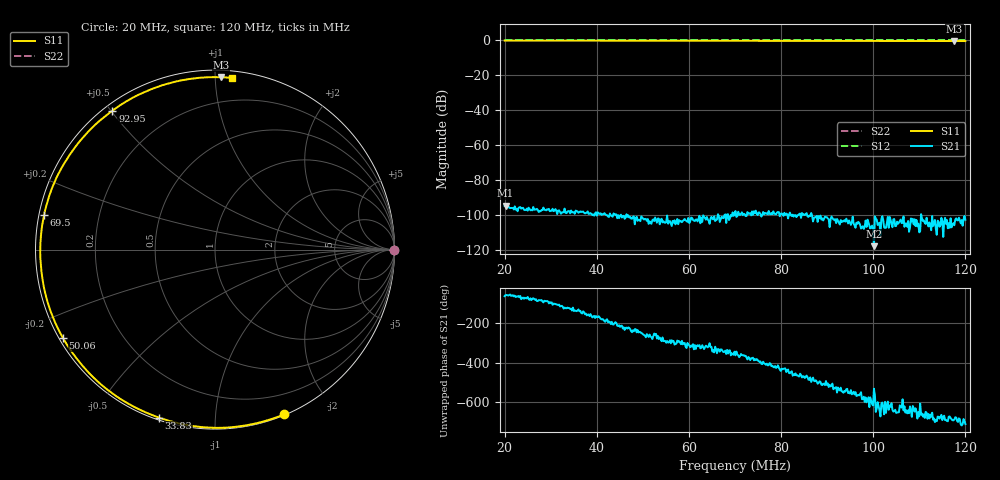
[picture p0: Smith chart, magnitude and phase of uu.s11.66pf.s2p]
! Anritsu VNA Master:  Model: MS2036C/10/77
! SN:  1601066
! /card0/usr/uu.s11.66pf.s2p
! Existing Calibration Information:
! TYPE:  Current Settings,  Active Cal Settings
! TIME:  05/23/2018 12:00:37 PM,  05/23/2018 11:36:58 AM
! INTERNAL TEMP:  48.5 C,  48.8 C
! # POINTS:  500,  500
! START FREQ:  20.000 MHz,  20.000 MHz
! STOP FREQ:  120.000 MHz,  120.000 MHz
! SOURCE POWER:  High,  High
! IFBW:  50 Hz,  50 Hz
! AVG FACTOR:  1 ,  1
! REF PLANE 1:  0 mm,  0 mm
! REF PLANE 2:  0 mm,  0 mm
! CAL TYPE:  Full S11,  Full S11
! CAL METHOD:  SOLT,  SOLT
! CAL LINE TYPE:  Coax,  Coax
! DUT PORT 1:  K-Conn(M),  K-Conn(M)
! DUT PORT 2:  K-Conn(M),  K-Conn(M)
! CAL STATUS:  OK: Accuracy High,  --
# GHZ S DB R 50.0
! FREQ.GHZ  S11DB  S11A  S21DB  S21A  S12DB  S12A  S22DB  S22A
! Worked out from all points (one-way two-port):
!   500 points, 20 MHz to 120 MHz, reference 50 ohm
!   highest |S21| = -94.71 dB at 20.2 MHz (marker M1); lowest = -117.9 dB at 100.2 MHz (marker M2)
!   lowest |S11| = -0.4 dB at 117.6 MHz (marker M3), VSWR 49.59, Z = 2.09 + j51.7 ohm
!   |S11| at or under -10 dB: nowhere
!   |S22| runs from 0.0 to 0.0 dB; largest |S21 - S12| = 1
!   S11 on the Smith chart (normalised r, x): 20 MHz: 0.01, -1.51; 33.83 MHz: 0.01, -0.72; 50.06 MHz: 0.01, -0.27; 69.5 MHz: 0.01, +0.10; 92.95 MHz: 0.02, +0.50; 120 MHz: 0.04, +1.10
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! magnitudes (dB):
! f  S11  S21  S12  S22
! 20 MHz  0.0  -94.8  0.0  0.0
! 20.2 MHz  0.0  -94.7  0.0  0.0
! 26.81 MHz  -0.1  -96.9  0.0  0.0
! 33.83 MHz  -0.1  -97.8  0.0  0.0
! 36.83 MHz  -0.1  -98.1  0.0  0.0
! 40.64 MHz  -0.1  -99.4  0.0  0.0
! 46.45 MHz  -0.2  -99.6  0.0  0.0
! 50.06 MHz  -0.2  -102.2  0.0  0.0
! 53.47 MHz  -0.2  -102.1  0.0  0.0
! 60.88 MHz  -0.2  -102.8  0.0  0.0
! 62.89 MHz  -0.2  -103.9  0.0  0.0
! 69.5 MHz  -0.2  -98.5  0.0  0.0
! 70.1 MHz  -0.2  -97.7  0.0  0.0
! 75.71 MHz  -0.3  -100.9  0.0  0.0
! 80.52 MHz  -0.3  -100.5  0.0  0.0
! 86.73 MHz  -0.3  -100.2  0.0  0.0
! 92.95 MHz  -0.3  -102.9  0.0  0.0
! 98.76 MHz  -0.3  -102.7  0.0  0.0
! 100.2 MHz  -0.3  -117.9  0.0  0.0
! 103.4 MHz  -0.3  -107.3  0.0  0.0
! 117.6 MHz  -0.4  -105.9  0.0  0.0
! 120 MHz  -0.3  -102.7  0.0  0.0
